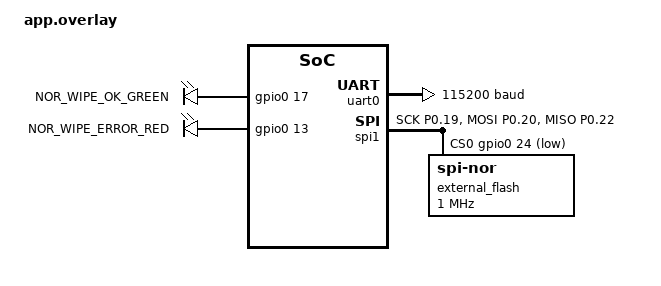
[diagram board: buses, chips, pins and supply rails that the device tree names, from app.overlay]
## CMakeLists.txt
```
# SPDX-License-Identifier: Apache-2.0

cmake_minimum_required(VERSION 3.20.0)
find_package(Zephyr REQUIRED HINTS $ENV{ZEPHYR_BASE})
project(nor_wipe)

target_sources(app PRIVATE src/main.c)
```

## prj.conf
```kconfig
CONFIG_GPIO=y
CONFIG_SERIAL=y
CONFIG_UART_INTERRUPT_DRIVEN=n
CONFIG_CONSOLE=n
CONFIG_UART_CONSOLE=n
CONFIG_LOG=n

CONFIG_FLASH=y
CONFIG_FLASH_PAGE_LAYOUT=y
CONFIG_SPI=y
CONFIG_SPI_NOR=y
CONFIG_SPI_NOR_SFDP_MINIMAL=y
CONFIG_SPI_NOR_FLASH_LAYOUT_PAGE_SIZE=4096

CONFIG_MAIN_STACK_SIZE=1024
CONFIG_SYSTEM_WORKQUEUE_STACK_SIZE=1024
```

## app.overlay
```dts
&pinctrl {
	uart0_default: uart0_default {
		group1 {
			psels = <NRF_PSEL(UART_TX, 0, 6)>,
				<NRF_PSEL(UART_RX, 0, 8)>;
		};
	};

	uart0_sleep: uart0_sleep {
		group1 {
			psels = <NRF_PSEL(UART_RX, 0, 8)>;
			low-power-enable;
		};

		group2 {
			psels = <NRF_PSEL(UART_TX, 0, 6)>;
			low-power-enable;
			bias-pull-up;
		};
	};

	spi1_default: spi1_default {
		group1 {
			psels = <NRF_PSEL(SPIM_SCK, 0, 19)>,
				<NRF_PSEL(SPIM_MOSI, 0, 20)>,
				<NRF_PSEL(SPIM_MISO, 0, 22)>;
		};
	};

	spi1_sleep: spi1_sleep {
		group1 {
			psels = <NRF_PSEL(SPIM_SCK, 0, 19)>,
				<NRF_PSEL(SPIM_MOSI, 0, 20)>,
				<NRF_PSEL(SPIM_MISO, 0, 22)>;
			low-power-enable;
		};
	};
};

&uart0 {
	status = "okay";
	current-speed = <115200>;
	/delete-property/ hw-flow-control;
};

&spi1 {
	compatible = "nordic,nrf-spim";
	status = "okay";
	pinctrl-0 = <&spi1_default>;
	pinctrl-1 = <&spi1_sleep>;
	pinctrl-names = "default", "sleep";
	cs-gpios = <&gpio0 24 GPIO_ACTIVE_LOW>;

	external_flash: flash@0 {
		compatible = "jedec,spi-nor";
		reg = <0>;
		spi-max-frequency = <1000000>;
		jedec-id = [9d 60 14];
		size = <0x800000>;
	};
};

/ {
	leds {
		compatible = "gpio-leds";

		debug_led0: debug_led_0 {
			gpios = <&gpio0 17 GPIO_ACTIVE_HIGH>;
			label = "NOR_WIPE_OK_GREEN";
		};

		debug_led1: debug_led_1 {
			gpios = <&gpio0 13 GPIO_ACTIVE_HIGH>;
			label = "NOR_WIPE_ERROR_RED";
		};
	};

	aliases {
		debug-led0 = &debug_led0;
		debug-led1 = &debug_led1;
	};
};
```

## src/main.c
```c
#include <stddef.h>
#include <stdint.h>

#include <zephyr/device.h>
#include <zephyr/drivers/flash.h>
#include <zephyr/drivers/gpio.h>
#include <zephyr/drivers/uart.h>
#include <zephyr/kernel.h>

#define UART_DEVICE_NODE DT_NODELABEL(uart0)
#define EXT_FLASH_NODE DT_NODELABEL(external_flash)

#define IMG_BG_GRID_LIGHT 0x03
#define IMG_TILE1_BLANK_LIGHT 0x04
#define SF_LABEL0_DARK 0x11

#define NOR_SLOT_SIZE 0x39000U
#define NOR_SECTOR_SIZE 0x1000U

static const struct device *const uart_dev = DEVICE_DT_GET(UART_DEVICE_NODE);
static const struct device *const flash_dev = DEVICE_DT_GET(EXT_FLASH_NODE);
static const struct gpio_dt_spec led_ok = GPIO_DT_SPEC_GET(DT_ALIAS(debug_led0), gpios);
static const struct gpio_dt_spec led_err = GPIO_DT_SPEC_GET(DT_ALIAS(debug_led1), gpios);

static uint16_t display_crc_ccitt(const uint8_t *data, size_t len)
{
	uint16_t crc = 0x0000;

	for (size_t i = 0; i < len; i++) {
		crc ^= (uint16_t)data[i] << 8;
		for (uint8_t bit = 0; bit < 8; bit++) {
			if ((crc & 0x8000U) != 0U) {
				crc = (uint16_t)((crc << 1) ^ 0x1021U);
			} else {
				crc <<= 1;
			}
		}
	}

	return crc;
}

static void display_cmd(const uint8_t *payload, size_t len)
{
	uint8_t buffer[32];
	uint16_t crc = display_crc_ccitt(payload, len);
	size_t pos = 0;

	if (!device_is_ready(uart_dev) || len > 25U) {
		return;
	}

	buffer[pos++] = 0xaa;
	for (size_t i = 0; i < len; i++) {
		buffer[pos++] = payload[i];
	}
	buffer[pos++] = (uint8_t)(crc >> 8);
	buffer[pos++] = (uint8_t)crc;
	buffer[pos++] = 0xe4;
	buffer[pos++] = 0x1b;
	buffer[pos++] = 0x11;
	buffer[pos++] = 0xee;

	for (size_t i = 0; i < pos; i++) {
		uart_poll_out(uart_dev, buffer[i]);
	}
}

static void display_show_image(uint8_t image)
{
	uint8_t payload[] = {0x80, image};

	display_cmd(payload, sizeof(payload));
}

static void display_show_text(const char *text)
{
	uint8_t payload[11] = {0x9f, SF_LABEL0_DARK};
	size_t len = 0;

	while (text[len] != '\0' && len < 9U) {
		payload[2U + len] = (uint8_t)text[len];
		len++;
	}

	display_cmd(payload, 2U + len);
}

static void show_status(const char *text)
{
	display_show_image(IMG_BG_GRID_LIGHT);
	display_show_image(IMG_TILE1_BLANK_LIGHT);
	display_show_text(text);
}

static void set_leds(bool ok)
{
	if (gpio_is_ready_dt(&led_ok)) {
		(void)gpio_pin_configure_dt(&led_ok, GPIO_OUTPUT_INACTIVE);
		(void)gpio_pin_set_dt(&led_ok, ok ? 1 : 0);
	}

	if (gpio_is_ready_dt(&led_err)) {
		(void)gpio_pin_configure_dt(&led_err, GPIO_OUTPUT_INACTIVE);
		(void)gpio_pin_set_dt(&led_err, ok ? 0 : 1);
	}
}

int main(void)
{
	int err = 0;

	k_msleep(500);
	show_status("NOR WIP");

	if (!device_is_ready(flash_dev)) {
		set_leds(false);
		show_status("NOR DEV");
		return 0;
	}

	for (uint32_t offset = 0; offset < NOR_SLOT_SIZE; offset += NOR_SECTOR_SIZE) {
		err = flash_erase(flash_dev, offset, NOR_SECTOR_SIZE);
		if (err != 0) {
			set_leds(false);
			show_status("NOR ERR");
			return 0;
		}
	}

	set_leds(true);
	show_status("NOR OK");

	while (1) {
		k_msleep(1000);
	}

	return 0;
}
```
